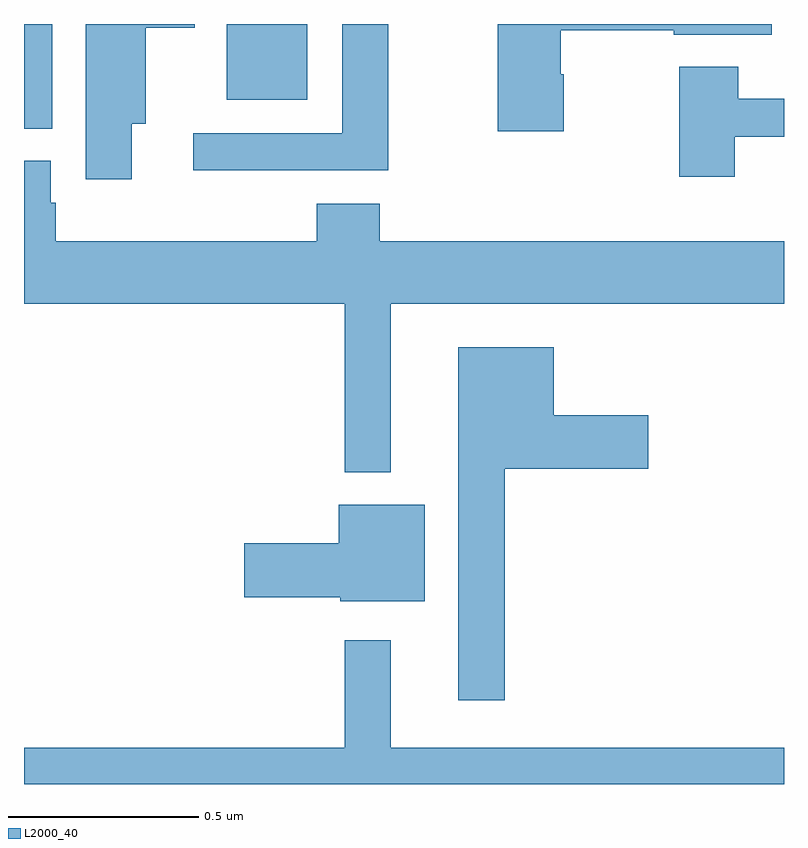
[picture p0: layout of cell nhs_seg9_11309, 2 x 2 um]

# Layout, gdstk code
import gdstk
lib = gdstk.Library(unit=1e-6, precision=1e-09)
def R(c, l, rs):  # rectangles x0, y0, x1, y1
    for r in rs: c.add(gdstk.rectangle(r[:2], r[2:], *l))
def P(c, l, *ps):  # polygons
    for p in ps: c.add(gdstk.Polygon(p, *l))
L2000_40 = (2000, 40)

nhs_seg9_11309 = lib.new_cell('nhs_seg9_11309')
R(nhs_seg9_11309, L2000_40, [(254,1186.225,254.074,1186.5), (254.534,1186.301,254.746,1186.5)])
P(nhs_seg9_11309, L2000_40, [(254.284,1186.238),(254.32,1186.238),(254.32,1186.49),(254.449,1186.49),(254.449,1186.5),(254.162,1186.5),(254.162,1186.092),(254.284,1186.092)],
  [(254.958,1186.5),(254.837,1186.5),(254.837,1186.212),(254.445,1186.212),(254.445,1186.115),(254.958,1186.115)],
  [(255.42,1186.368),(255.412,1186.368),(255.412,1186.483),(255.71,1186.483),(255.71,1186.472),(255.968,1186.472),(255.968,1186.5),(255.247,1186.5),(255.247,1186.218),(255.42,1186.218)],
  [(255.871,1186.203),(256,1186.203),(256,1186.303),(255.879,1186.303),(255.879,1186.387),(255.724,1186.387),(255.724,1186.098),(255.871,1186.098)],
  [(254.844,1185.32),(254.965,1185.32),(254.965,1185.764),(256,1185.764),(256,1185.928),(254.936,1185.928),(254.936,1186.027),(254.771,1186.027),(254.771,1185.928),(254.084,1185.928),(254.084,1186.029),(254.071,1186.029),(254.071,1186.14),(254,1186.14),(254,1185.764),(254.844,1185.764)],
  [(255.265,1185.329),(255.643,1185.329),(255.643,1185.471),(255.394,1185.471),(255.394,1185.649),(255.143,1185.649),(255.143,1184.721),(255.265,1184.721)],
  [(255.055,1185.235),(254.828,1185.235),(254.828,1185.134),(254.58,1185.134),(254.58,1184.992),(254.832,1184.992),(254.832,1184.981),(255.055,1184.981)],
  [(256,1184.596),(254.965,1184.596),(254.965,1184.878),(254.844,1184.878),(254.844,1184.596),(254,1184.596),(254,1184.5),(256,1184.5)])

lib.write_gds('nhs_seg9_11309.gds')
